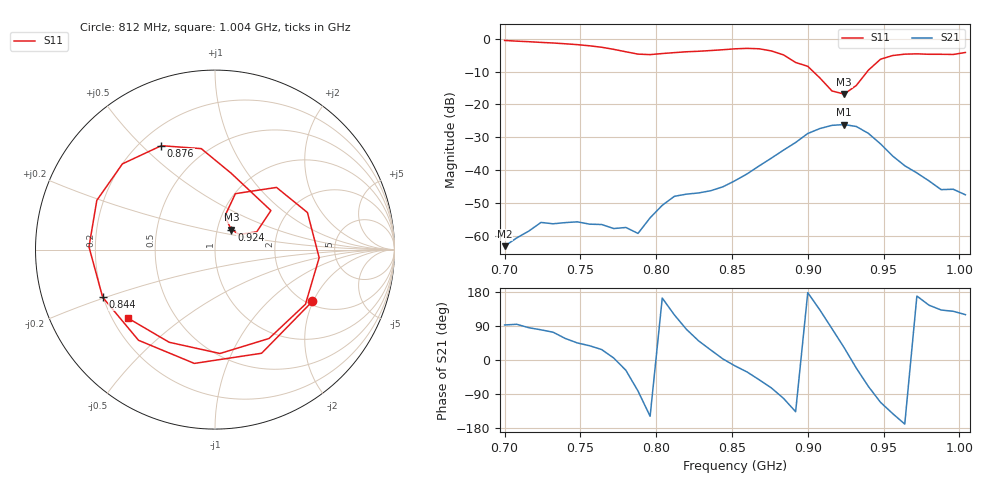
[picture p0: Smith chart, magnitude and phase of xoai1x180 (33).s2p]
# Hz S RI R 50
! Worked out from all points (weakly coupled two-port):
!   39 points, 700 MHz to 1.004 GHz, reference 50 ohm
!   highest |S21| = -26.17 dB at 924 MHz (marker M1); lowest = -63.2 dB at 700 MHz (marker M2)
!   lowest |S11| = -16.9 dB at 924 MHz (marker M3), VSWR 1.33, Z = 58.4 + j13.2 ohm
!   |S11| at or under -10 dB: 903.6 MHz to 939.3 MHz (35.69 MHz wide, 3.87 % of centre)
!   S12 and S22 are empty: the file has one direction only
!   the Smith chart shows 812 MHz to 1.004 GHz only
!   S11 on the Smith chart (normalised r, x): 812 MHz: 2.12, -1.97; 844 MHz: 0.20, -0.20; 876 MHz: 0.28, +0.57; 924 MHz: 1.17, +0.26; 1.004 GHz: 0.26, -0.32
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7e8  0.7634 0.5514  -3.01e-05 0.000688  0 0  0 0
7.24e8  0.8445 -0.2458  0.000286 0.00156  0 0  0 0
7.4e8  0.4552 -0.7032  0.00086 0.00132  0 0  0 0
7.56e8  -0.1969 -0.7555  0.00118 0.000911  0 0  0 0
7.72e8  -0.6608 -0.1953  0.00127 0.000115  0 0  0 0
7.8e8  -0.5896 0.2306  0.00118 -0.000606  0 0  0 0
7.88e8  -0.2388 0.5318  0.000155 -0.00107  0 0  0 0
7.96e8  0.2487 0.5162  -0.00159 -0.000973  0 0  0 0
8.04e8  0.5718 0.1637  -0.00277 0.000825  0 0  0 0
8.12e8  0.5421 -0.289  -0.00192 0.00347  0 0  0 0
8.28e8  -0.1151 -0.6341  0.00284 0.00344  0 0  0 0
8.44e8  -0.626 -0.2655  0.00552 0.000278  0 0  0 0
8.52e8  -0.7021 0.015  0.0066 -0.00183  0 0  0 0
8.76e8  -0.2991 0.5789  0.00426 -0.0145  0 0  0 0
9e8  0.3114 0.2175  -0.0359 0.0014  0 0  0 0
9.08e8  0.2325 0.0989  -0.0286 0.0318  0 0  0 0
9.24e8  0.0909 0.1109  0.0414 0.0265  0 0  0 0
9.4e8  0.1136 0.3116  0.0125 -0.0339  0 0  0 0
9.56e8  0.515 0.2066  -0.0127 -0.0102  0 0  0 0
9.64e8  0.5804 -0.0451  -0.0114 -0.00219  0 0  0 0
9.8e8  0.3012 -0.4951  -0.00555 0.00394  0 0  0 0
1.004e9  -0.486 -0.3811  -0.00207 0.00363  0 0  0 0
